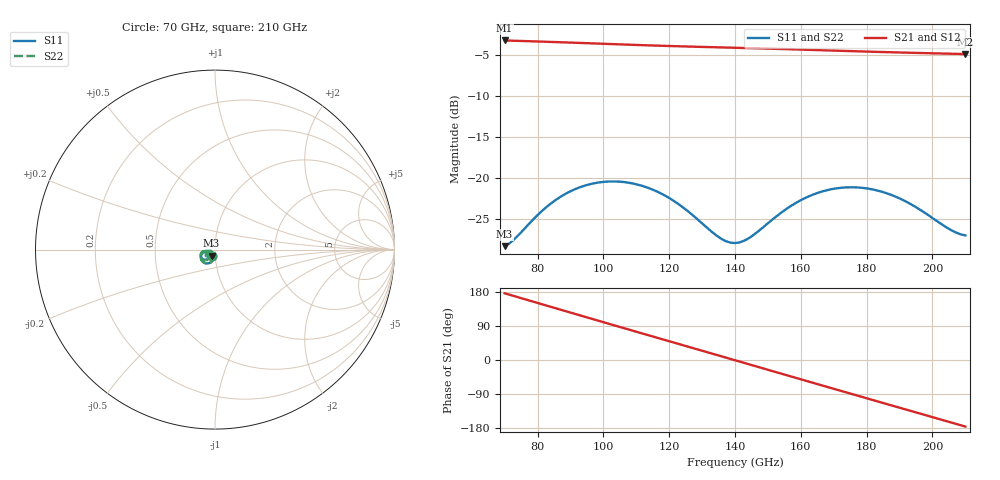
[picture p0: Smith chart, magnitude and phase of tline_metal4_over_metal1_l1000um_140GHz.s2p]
#  GHZ S DB R 50
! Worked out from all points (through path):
!   101 points, 70 GHz to 210 GHz, reference 50 ohm
!   highest |S21| = -3.18 dB at 70 GHz (marker M1); lowest = -4.8 dB at 210 GHz (marker M2)
!   group delay of S21, straight-line fit = 6.98 ps
!   lowest |S11| = -28.3 dB at 70 GHz (marker M3), VSWR 1.08, Z = 48 - j3.21 ohm
!   |S11| at or under -10 dB: start of sweep to end of sweep
!   |S22| runs from -28.4 to -20.4 dB; largest |S21 - S12| = 7.2e-14
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70  -28.32 -119.6  -3.18 176.0  -3.18 176.0  -28.41 -118.8
75.6  -26.37 -105.2  -3.25 161.8  -3.25 161.8  -26.40 -104.4
81.2  -24.07 -104.0  -3.32 147.5  -3.32 147.5  -24.06 -103.4
88.2  -21.99 -111.4  -3.42 129.7  -3.42 129.7  -21.98 -111.0
93.8  -20.99 -120.3  -3.50 115.5  -3.50 115.5  -20.98 -119.9
99.4  -20.49 -130.1  -3.58 101.4  -3.58 101.4  -20.48 -129.8
105  -20.44 -140.1  -3.66 87.2  -3.66 87.2  -20.43 -139.9
110.6  -20.81 -149.6  -3.74 73.1  -3.74 73.1  -20.81 -149.5
117.6  -21.90 -160.0  -3.83 55.6  -3.83 55.6  -21.92 -159.9
128.8  -25.10 -167.1  -3.96 27.5  -3.96 27.5  -25.18 -167.0
135.8  -27.41 -157.9  -4.03 9.9  -4.03 9.9  -27.55 -157.4
140  -27.94 -146.1  -4.08 -0.6  -4.08 -0.6  -28.07 -145.1
144.2  -27.34 -134.7  -4.12 -11.2  -4.12 -11.2  -27.43 -133.4
151.2  -25.12 -126.2  -4.20 -28.8  -4.20 -28.8  -25.13 -124.9
158.2  -23.10 -128.6  -4.28 -46.4  -4.28 -46.4  -23.07 -127.5
163.8  -22.00 -134.4  -4.35 -60.5  -4.35 -60.5  -21.96 -133.3
169.4  -21.35 -141.7  -4.41 -74.5  -4.41 -74.5  -21.30 -140.7
175  -21.12 -149.5  -4.48 -88.5  -4.48 -88.5  -21.07 -148.6
180.6  -21.30 -157.2  -4.55 -102.5  -4.55 -102.5  -21.24 -156.3
187.6  -22.07 -165.7  -4.63 -119.9  -4.63 -119.9  -22.01 -164.8
198.8  -24.55 -171.9  -4.74 -147.8  -4.74 -147.8  -24.47 -171.0
210  -27.01 -157.4  -4.85 -175.7  -4.85 -175.7  -26.93 -156.6
